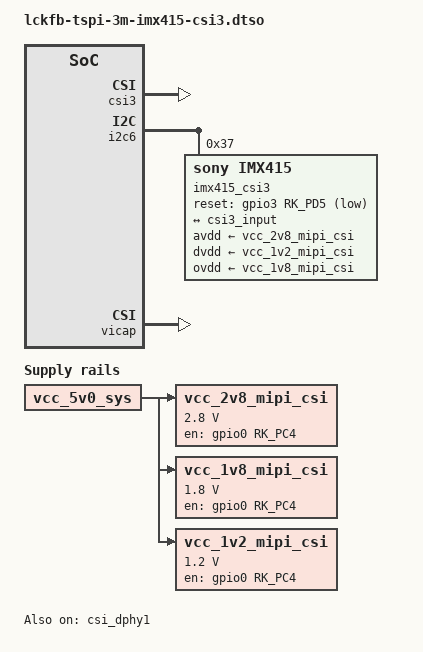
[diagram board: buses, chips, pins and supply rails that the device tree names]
// SPDX-License-Identifier: (GPL-2.0+ OR MIT)
/*
 * LCKFB TaishanPi 3M: Sony IMX415 camera module (CMK-OT2022-PX1, lens
 * IR0147-50IRC-8M-F20) on the MIPI-CSI-3 connector.
 *
 * Data path (mainline, v7.4-rc1 or later):
 *   imx415 (4 lanes) -> csi_dphy1 (Innosilicon D-PHY 1, full mode)
 *   -> csi3 (Synopsys CSI-2 receiver MIPI3) -> vicap port@4 (MIPI3)
 *
 * The MIPI-CSI-0 connector is wired to the MIPI DCPHY, whose receive
 * side has no mainline driver, so it is not covered.
 *
 * Wiring is from LCKFB's vendor kernel device tree
 * (rk3576-lckfb-tspi-3m-csi3.dtsi and -core.dtsi):
 * - I2C6 on i2c6m1, sensor answering at 0x37 (the vendor stack bound it
 *   as 6-0037; the vendor DT also lists 0x1a for other modules)
 * - MCLK from CLK_MIPI_CAMERAOUT_M2 on cam_clk2m0 (GPIO4_A1), 37.125 MHz
 * - XCLR (reset) on GPIO3_D5, active low
 * - the three camera rails are switched together by GPIO0_C4
 *
 * The vendor DT also has "pwdn-gpios" on GPIO3_C7. The vendor imx415
 * driver asks for "power-gpios", so it never drove that line, and the
 * camera worked with the pin left alone. It is left alone here too.
 */

/dts-v1/;
/plugin/;

#include <dt-bindings/clock/rockchip,rk3576-cru.h>
#include <dt-bindings/gpio/gpio.h>
#include <dt-bindings/media/video-interfaces.h>
#include <dt-bindings/pinctrl/rockchip.h>

&{/} {
	/*
	 * One enable line for all three rails; the fixed regulator driver
	 * requests it non-exclusively. The node names match the CSI-1
	 * overlay so that both overlays can be loaded together.
	 */
	vcc_2v8_mipi_csi: regulator-vcc-2v8-mipi-csi {
		compatible = "regulator-fixed";
		enable-active-high;
		gpio = <&gpio0 RK_PC4 GPIO_ACTIVE_HIGH>;
		pinctrl-names = "default";
		pinctrl-0 = <&mipi_csi_pwr_en>;
		regulator-name = "vcc_2v8_mipi_csi";
		regulator-min-microvolt = <2800000>;
		regulator-max-microvolt = <2800000>;
		vin-supply = <&vcc_5v0_sys>;
	};

	vcc_1v8_mipi_csi: regulator-vcc-1v8-mipi-csi {
		compatible = "regulator-fixed";
		enable-active-high;
		gpio = <&gpio0 RK_PC4 GPIO_ACTIVE_HIGH>;
		regulator-name = "vcc_1v8_mipi_csi";
		regulator-min-microvolt = <1800000>;
		regulator-max-microvolt = <1800000>;
		vin-supply = <&vcc_5v0_sys>;
	};

	vcc_1v2_mipi_csi: regulator-vcc-1v2-mipi-csi {
		compatible = "regulator-fixed";
		enable-active-high;
		gpio = <&gpio0 RK_PC4 GPIO_ACTIVE_HIGH>;
		regulator-name = "vcc_1v2_mipi_csi";
		regulator-min-microvolt = <1200000>;
		regulator-max-microvolt = <1200000>;
		vin-supply = <&vcc_5v0_sys>;
	};
};

&csi3 {
	status = "okay";
};

&csi3_in {
	csi3_input: endpoint {
		bus-type = <MEDIA_BUS_TYPE_CSI2_DPHY>;
		data-lanes = <1 2 3 4>;
		link-frequencies = /bits/ 64 <445500000>;
		remote-endpoint = <&imx415_csi3_output>;
	};
};

&csi_dphy1 {
	status = "okay";
};

&i2c6 {
	pinctrl-names = "default";
	pinctrl-0 = <&i2c6m1_xfer>;
	#address-cells = <1>;
	#size-cells = <0>;
	status = "okay";

	imx415_csi3: camera-sensor@37 {
		compatible = "sony,imx415";
		reg = <0x37>;
		assigned-clocks = <&cru CLK_MIPI_CAMERAOUT_M2>;
		assigned-clock-rates = <37125000>;
		avdd-supply = <&vcc_2v8_mipi_csi>;
		clocks = <&cru CLK_MIPI_CAMERAOUT_M2>;
		dvdd-supply = <&vcc_1v2_mipi_csi>;
		orientation = <2>; /* External */
		ovdd-supply = <&vcc_1v8_mipi_csi>;
		pinctrl-names = "default";
		pinctrl-0 = <&cam3_rstn &cam_clk2m0_clk2>;
		reset-gpios = <&gpio3 RK_PD5 GPIO_ACTIVE_LOW>;

		port {
			imx415_csi3_output: endpoint {
				data-lanes = <1 2 3 4>;
				/* 891 Mbps per lane: the 37.125 MHz row of imx415.c */
				link-frequencies = /bits/ 64 <445500000>;
				remote-endpoint = <&csi3_input>;
			};
		};
	};
};

&pinctrl {
	cam {
		mipi_csi_pwr_en: mipi-csi-pwr-en {
			rockchip,pins = <0 RK_PC4 RK_FUNC_GPIO &pcfg_pull_none>;
		};

		cam3_rstn: cam3-rstn {
			rockchip,pins = <3 RK_PD5 RK_FUNC_GPIO &pcfg_pull_none>;
		};
	};
};

&vicap {
	status = "okay";
};

&vicap_mmu {
	status = "okay";
};
